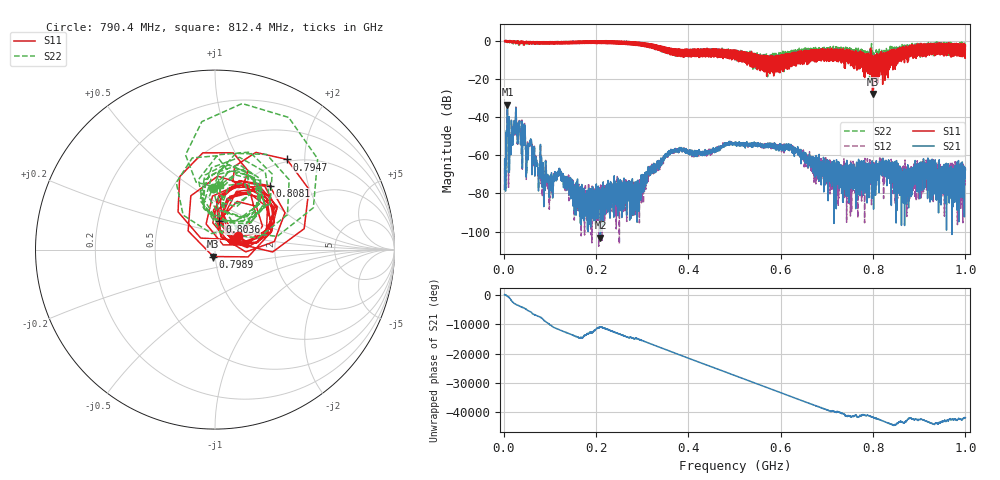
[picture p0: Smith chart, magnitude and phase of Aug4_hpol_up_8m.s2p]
!Keysight Technologies N9923A: A.12.45
!Date: Tuesday, 05 August 2025 19:45:57
!Timezone: (UTC+08:00) Kuala Lumpur, Singapore
!Model: N9923A
!Serial: MY61181427
!GPS Latitude:
!GPS Longitude:
!GPS TimeStamp: 0001-01-01 00:00:00Z
!GPS Seconds Since Last Read: 0
!CHECKSUM:0856985365
!Correction: S11(ON U)S21(ON U)S12(ON U)S22(ON U)
!S2P File: Measurements:S11,S21,S12,S22:
# Hz S DB R 50
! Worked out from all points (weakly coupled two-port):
!   4001 points, 2 MHz to 1 GHz, reference 50 ohm
!   highest |S21| = -33.42 dB at 8.238 MHz (marker M1); lowest = -103.3 dB at 209.6 MHz (marker M2)
!   lowest |S11| = -28.0 dB at 798.9 MHz (marker M3), VSWR 1.08, Z = 48.8 - j3.78 ohm
!   |S11| at or under -10 dB: 552.339 MHz to 553.1817 MHz (842.8 kHz wide, 0.152 % of centre); 800.097 MHz to 801.2903 MHz (1.193 MHz wide, 0.149 % of centre); 801.5064 MHz to 802.6793 MHz (1.173 MHz wide, 0.146 % of centre)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
!   |S22| runs from -20.8 to 0.1 dB; largest |S21 - S12| = 0.0015
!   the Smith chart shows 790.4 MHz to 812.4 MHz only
!   S11 on the Smith chart (normalised r, x): 790.4 MHz: 1.28, +0.19; 794.7 MHz: 0.96, +1.64; 798.9 MHz: 0.98, -0.08; 803.6 MHz: 1.00, +0.32; 808.1 MHz: 1.28, +1.17; 812.4 MHz: 1.23, +0.12
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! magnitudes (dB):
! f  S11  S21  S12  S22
! 2 MHz  -0.1  -77.9  -78.2  -0.1
! 8.238 MHz  -0.1  -33.4  -33.3  -0.1
! 29.94 MHz  -0.2  -53.1  -53.6  -0.2
! 97.31 MHz  -0.7  -70.8  -70.1  -0.6
! 120.5 MHz  -0.5  -69.1  -68.1  -0.6
! 168.4 MHz  -1.4  -85.9  -81.5  -1.2
! 209.6 MHz  -0.1  -103.3  -83.2  -0.2
! 289.4 MHz  -2.5  -73.4  -80.2  -2.3
! 334.8 MHz  -4.1  -64.8  -64.2  -4.9
! 501 MHz  -6.7  -53.5  -53.5  -8.6
! 618 MHz  -8.0  -54.2  -55.6  -6.1
! 667.4 MHz  -10.2  -61.6  -60.6  -6.3
! 738 MHz  -14.2  -67.4  -66.6  -5.0
! 790.4 MHz  -16.6  -71.1  -65.7  -9.2
! 794.7 MHz  -3.8  -70.1  -68.7  -8.9
! 798.9 MHz  -28.0  -73.9  -73.2  -7.3
! 803.6 MHz  -16.0  -68.8  -67.4  -6.4
! 808.1 MHz  -6.6  -68.9  -68.0  -10.2
! 812.4 MHz  -18.8  -69.6  -67.2  -8.8
! 833.8 MHz  -7.6  -65.5  -64.1  -5.0
! 857.5 MHz  -6.5  -72.1  -71.8  -2.5
! 1 GHz  -2.4  -67.7  -66.3  -6.0
